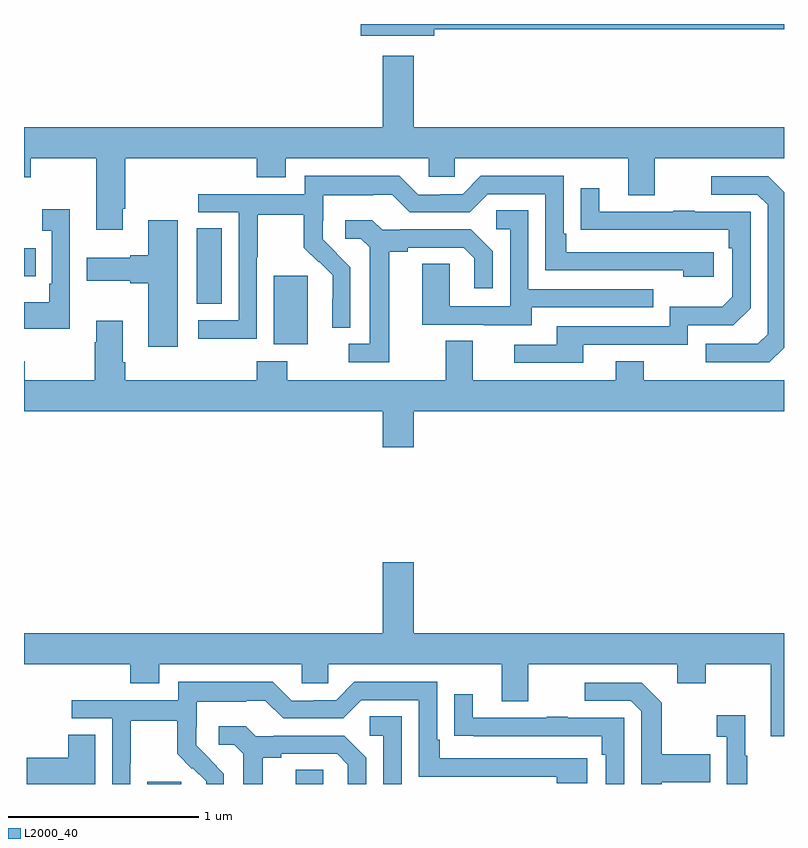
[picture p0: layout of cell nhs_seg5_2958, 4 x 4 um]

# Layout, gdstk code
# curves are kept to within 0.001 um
import gdstk
lib = gdstk.Library(unit=1e-6, precision=1e-09)
def R(c, l, rs):  # rectangles x0, y0, x1, y1
    for r in rs: c.add(gdstk.rectangle(r[:2], r[2:], *l))
def P(c, l, *ps):  # polygons
    for p in ps: c.add(gdstk.Polygon(p, *l))
L2000_40 = (2000, 40)

nhs_seg5_2958 = lib.new_cell('nhs_seg5_2958')
R(nhs_seg5_2958, L2000_40, [(283.649,854.799,283.828,854.811), (284.429,854.799,284.574,854.873), (284.315,857.114,284.494,857.475), (283.91,857.326,284.041,857.723), (283,857.471,283.061,857.619)])
P(nhs_seg5_2958, L2000_40, [(285.16,858.772),(287,858.772),(287,858.799),(284.772,858.799),(284.772,858.737),(285.16,858.737)],
  [(283.519,857.827),(283.532,857.827),(283.532,858.092),(284.225,858.092),(284.225,857.993),(284.377,857.993),(284.377,858.092),(285.129,858.092),(285.129,857.994),(285.267,857.994),(285.267,858.092),(286.181,858.092),(286.181,857.898),(286.321,857.898),(286.321,858.092),(287,858.092),(287,858.256),(285.052,858.256),(285.052,858.631),(284.888,858.631),(284.888,858.256),(283,858.256),(283,857.993),(283.035,857.993),(283.035,858.092),(283.379,858.092),(283.379,857.715),(283.519,857.715)],
  [(284.226,857.572),(284.229,857.572),(284.229,857.796),(284.473,857.796),(284.473,857.621),(284.55,857.544),(284.553,857.547),(284.624,857.477),(284.624,857.354),(284.622,857.354),(284.622,857.2),(284.718,857.2),(284.718,857.518),(284.572,857.666),(284.572,857.763),(284.574,857.763),(284.574,857.897),(284.837,857.897),(284.837,857.901),(284.937,857.901),(285.03,857.808),(285.345,857.808),(285.441,857.904),(285.744,857.904),(285.744,857.502),(286.469,857.502),(286.469,857.468),(286.63,857.468),(286.63,857.598),(285.853,857.598),(285.853,857.695),(285.84,857.695),(285.84,858),(285.405,858),(285.309,857.904),(285.191,857.904),(285.191,857.901),(285.075,857.901),(284.975,858.001),(284.478,858.001),(284.478,857.904),(283.917,857.904),(283.917,857.808),(284.13,857.808),(284.13,857.241),(283.917,857.241),(283.917,857.143),(284.226,857.143)],
  [(287,857.096),(287,857.914),(286.917,857.997),(286.617,857.997),(286.617,857.901),(286.86,857.901),(286.914,857.847),(286.914,857.166),(286.863,857.115),(286.587,857.115),(286.587,857.019),(286.923,857.019)],
  [(285.943,857.112),(286.494,857.112),(286.494,857.214),(286.734,857.214),(286.824,857.304),(286.824,857.811),(286.529,857.811),(286.529,857.816),(286.417,857.816),(286.417,857.811),(286.027,857.811),(286.027,857.935),(285.931,857.935),(285.931,857.716),(286.708,857.715),(286.708,857.618),(286.728,857.618),(286.728,857.364),(286.675,857.311),(286.398,857.311),(286.398,857.208),(285.803,857.208),(285.803,857.112),(285.579,857.112),(285.579,857.016),(285.943,857.016)],
  [(283.242,857.824),(283.095,857.824),(283.095,857.711),(283.146,857.711),(283.146,857.431),(283.134,857.431),(283.134,857.335),(283,857.335),(283,857.195),(283.242,857.195)],
  [(285.673,857.307),(286.313,857.307),(286.313,857.403),(285.654,857.403),(285.654,857.819),(285.486,857.819),(285.486,857.718),(285.558,857.718),(285.558,857.313),(285.24,857.313),(285.24,857.537),(285.095,857.537),(285.095,857.217),(285.419,857.217),(285.419,857.213),(285.673,857.213)],
  [(284.923,857.6),(285.019,857.6),(285.019,857.622),(285.314,857.622),(285.371,857.565),(285.371,857.409),(285.468,857.409),(285.468,857.602),(285.352,857.718),(284.98,857.718),(284.98,857.715),(284.886,857.715),(284.834,857.767),(284.691,857.767),(284.691,857.67),(284.772,857.67),(284.819,857.623),(284.819,857.115),(284.709,857.115),(284.709,857.019),(284.923,857.019)],
  [(283.81,857.767),(283.655,857.767),(283.655,857.582),(283.559,857.582),(283.559,857.569),(283.329,857.569),(283.329,857.447),(283.559,857.447),(283.559,857.435),(283.655,857.435),(283.655,857.1),(283.81,857.1)],
  [(285.052,856.76),(287,856.76),(287,856.924),(286.263,856.924),(286.263,857.023),(286.115,857.023),(286.115,856.924),(285.361,856.924),(285.361,857.132),(285.221,857.132),(285.221,856.924),(284.385,856.924),(284.385,857.023),(284.225,857.023),(284.225,856.924),(283.532,856.924),(283.532,857.02),(283.519,857.02),(283.519,857.236),(283.379,857.236),(283.379,857.123),(283.372,857.123),(283.372,856.924),(283.005,856.924),(283.005,857.023),(283,857.023),(283,856.76),(284.888,856.76),(284.888,856.572),(285.052,856.572)],
  [(287,855.592),(285.052,855.592),(285.052,855.967),(284.888,855.967),(284.888,855.592),(283,855.592),(283,855.428),(283.559,855.428),(283.559,855.329),(283.711,855.329),(283.711,855.428),(284.463,855.428),(284.463,855.33),(284.601,855.33),(284.601,855.428),(285.515,855.428),(285.515,855.234),(285.655,855.234),(285.655,855.428),(286.439,855.428),(286.439,855.329),(286.587,855.329),(286.587,855.428),(286.931,855.428),(286.931,855.051),(287,855.051)],
  [(283.56,854.908),(283.563,854.908),(283.563,855.132),(283.807,855.132),(283.807,854.957),(283.884,854.88),(283.887,854.883),(283.958,854.813),(283.958,854.799),(284.052,854.799),(284.052,854.854),(283.906,855.002),(283.906,855.099),(283.908,855.099),(283.908,855.233),(284.171,855.233),(284.171,855.237),(284.271,855.237),(284.364,855.144),(284.679,855.144),(284.775,855.24),(285.078,855.24),(285.078,854.838),(285.803,854.838),(285.803,854.804),(285.964,854.804),(285.964,854.934),(285.187,854.934),(285.187,855.031),(285.174,855.031),(285.174,855.336),(284.739,855.336),(284.643,855.24),(284.525,855.24),(284.525,855.237),(284.409,855.237),(284.309,855.337),(283.812,855.337),(283.812,855.24),(283.251,855.24),(283.251,855.144),(283.464,855.144),(283.464,854.799),(283.56,854.799)],
  [(286.357,854.807),(286.613,854.807),(286.613,854.955),(286.357,854.955),(286.357,855.227),(286.251,855.333),(285.951,855.333),(285.951,855.237),(286.194,855.237),(286.248,855.183),(286.248,854.799),(286.357,854.799)],
  [(286.158,855.147),(285.863,855.147),(285.863,855.152),(285.751,855.152),(285.751,855.147),(285.361,855.147),(285.361,855.271),(285.265,855.271),(285.265,855.052),(285.367,855.052),(285.367,855.051),(286.042,855.051),(286.042,854.954),(286.062,854.954),(286.062,854.799),(286.158,854.799)],
  [(286.807,854.947),(286.795,854.947),(286.795,855.16),(286.647,855.16),(286.647,855.047),(286.698,855.047),(286.698,854.799),(286.807,854.799)],
  [(284.988,855.155),(284.82,855.155),(284.82,855.054),(284.892,855.054),(284.892,854.799),(284.988,854.799)],
  [(284.257,854.936),(284.353,854.936),(284.353,854.958),(284.648,854.958),(284.705,854.901),(284.705,854.799),(284.802,854.799),(284.802,854.938),(284.686,855.054),(284.314,855.054),(284.314,855.051),(284.22,855.051),(284.168,855.103),(284.025,855.103),(284.025,855.006),(284.106,855.006),(284.153,854.959),(284.153,854.799),(284.257,854.799)],
  [(283.375,855.059),(283.232,855.059),(283.232,854.936),(283.014,854.936),(283.014,854.799),(283.375,854.799)])

lib.write_gds('nhs_seg5_2958.gds')
